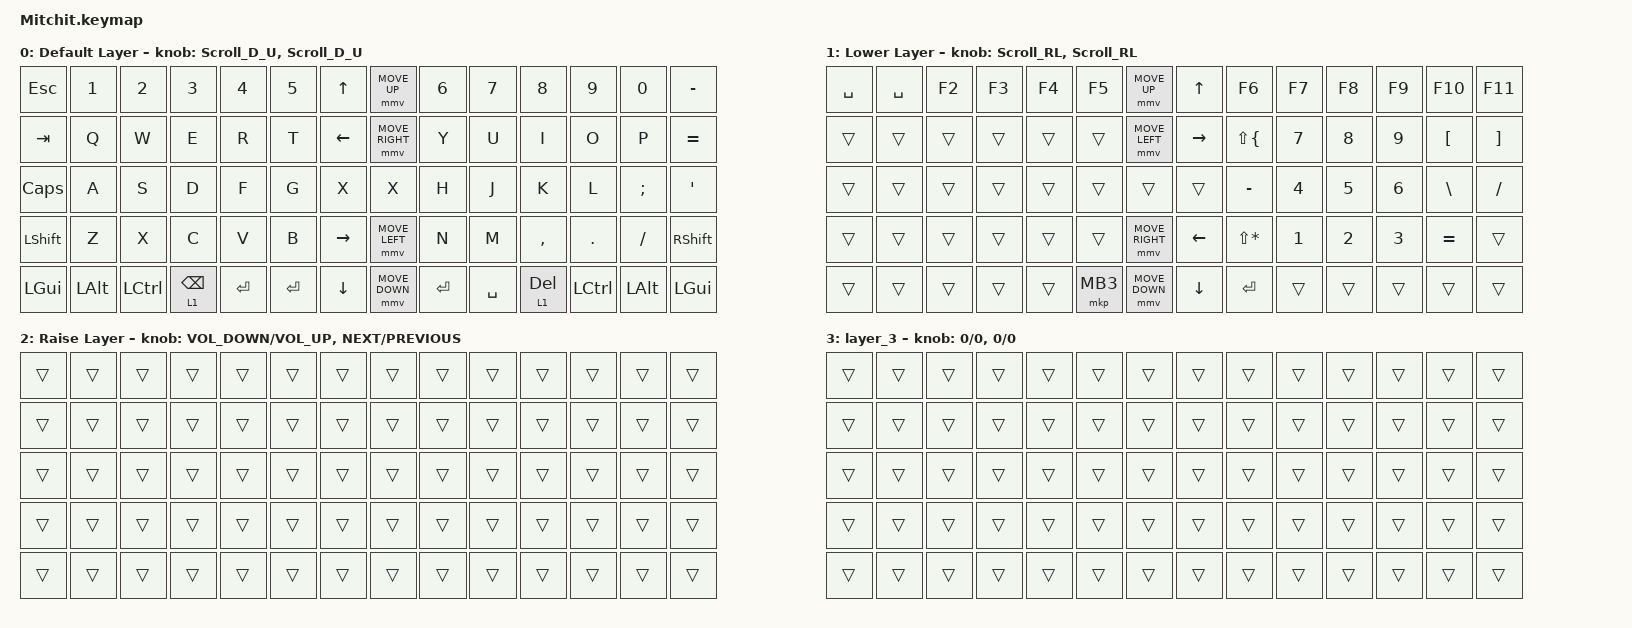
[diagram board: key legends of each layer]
/*
 * Copyright (c) 2020 The ZMK Contributors
 *
 * SPDX-License-Identifier: MIT
 */

#include <input/processors.dtsi>
#include <zephyr/dt-bindings/input/input-event-codes.h>
#include <dt-bindings/zmk/mouse.h>
#include <behaviors/mouse_keys.dtsi>
#include <behaviors.dtsi>
#include <dt-bindings/zmk/bt.h>
#include <dt-bindings/zmk/keys.h>
#include <dt-bindings/zmk/pointing.h>

#define ZMK_POINTING_DEFAULT_MOVE_VAL 1200  // 600
#define ZMK_POINTING_DEFAULT_SCRL_VAL 900   // mousescroll SPEED

&mmv_input_listener { input-processors = <&zip_xy_scaler 2 1>; };

&msc_input_listener { input-processors = <&zip_scroll_scaler 2 1>; };

&msc {
    acceleration-exponent = <1>;      // 0
    time-to-max-speed-ms = <100>;       // 300
    delay-ms = <0>;                   // 0
};

&mmv {
    time-to-max-speed-ms = <500>;
    acceleration-exponent = <1>;
    trigger-period-ms = <16>;
};

&soft_off {
    hold-time-ms = <3000>; // Only turn off it the key is held for 3 seconds or longer.
};

&mt {
    tapping-term-ms = <300>;
    flavor = "balanced";
};

&lt { tapping-term-ms = <300>; };

/ {
    behaviors {
        Scroll_D_U: Scroll_D_U {
            compatible = "zmk,behavior-sensor-rotate";
            label = "SCROLL_D_U";
            #sensor-binding-cells = <0>;
            bindings = <&msc SCRL_DOWN>, <&msc SCRL_UP>;

            tap-ms = <20>;
        };

        TD01: TD01 {
            compatible = "zmk,behavior-tap-dance";
            label = "TD01";
            #binding-cells = <0>;
            bindings = <&kp MINUS>, <&kp PERIOD>;
        };

        Scroll_U_D: Scroll_U_D {
            compatible = "zmk,behavior-sensor-rotate";
            label = "SCROLL_U_D";
            #sensor-binding-cells = <0>;
            bindings = <&msc SCRL_UP>, <&msc SCRL_DOWN>;

            tap-ms = <20>;
        };

        Scroll_LR: Scroll_LR {
            compatible = "zmk,behavior-sensor-rotate";
            label = "SCROLL_LR";
            #sensor-binding-cells = <0>;
            bindings = <&msc SCRL_LEFT>, <&msc SCRL_RIGHT>;

            tap-ms = <20>;
        };

        Scroll_RL: Scroll_RL {
            compatible = "zmk,behavior-sensor-rotate";
            label = "SCROLL_RL";
            #sensor-binding-cells = <0>;
            bindings = <&msc SCRL_RIGHT>, <&msc SCRL_LEFT>;

            tap-ms = <20>;
        };
    };

    combos {
        compatible = "zmk,combos";

        Combo_CLR_BT {
            bindings = <&bt BT_CLR_ALL>;
            key-positions = <13 0>;
            layers = <1>;
        };
    };

    keymap {
        compatible = "zmk,keymap";

        default_layer {
            display-name = "Default Layer";
            bindings = <
&kp ESC    &kp N1    &kp N2     &kp N3           &kp N4   &kp N5   &kp UP     &mmv MOVE_UP     &kp N6   &kp N7     &kp N8     &kp N9     &kp N0    &kp MINUS
&kp TAB    &kp Q     &kp W      &kp E            &kp R    &kp T    &kp LEFT   &mmv MOVE_RIGHT  &kp Y    &kp U      &kp I      &kp O      &kp P     &kp EQUAL
&kp CAPS   &kp A     &kp S      &kp D            &kp F    &kp G    &kp X      &kp X            &kp H    &kp J      &kp K      &kp L      &kp SEMI  &kp APOS
&kp LSHFT  &kp Z     &kp X      &kp C            &kp V    &kp B    &kp RIGHT  &mmv MOVE_LEFT   &kp N    &kp M      &kp COMMA  &kp DOT    &kp FSLH  &kp RSHFT
&kp LGUI   &kp LALT  &kp LCTRL  &lt 1 BACKSPACE  &kp RET  &kp RET  &kp DOWN   &mmv MOVE_DOWN   &kp RET  &kp SPACE  &lt 1 DEL  &kp LCTRL  &kp LALT  &kp LGUI
            >;

            sensor-bindings = <&Scroll_D_U>, <&Scroll_D_U>;
        };

        lower_layer {
            display-name = "Lower Layer";
            bindings = <
&kp SPACE  &kp SPACE  &kp F2  &kp F3  &kp F4  &kp F5    &mmv MOVE_UP     &kp UP     &kp F6        &kp F7  &kp F8  &kp F9  &kp F10    &kp F11
&trans     &trans     &trans  &trans  &trans  &trans    &mmv MOVE_LEFT   &kp RIGHT  &kp LS(LBRC)  &kp N7  &kp N8  &kp N9  &kp LBKT   &kp RBKT
&trans     &trans     &trans  &trans  &trans  &trans    &trans           &trans     &kp MINUS     &kp N4  &kp N5  &kp N6  &kp BSLH   &kp FSLH
&trans     &trans     &trans  &trans  &trans  &trans    &mmv MOVE_RIGHT  &kp LEFT   &kp LS(STAR)  &kp N1  &kp N2  &kp N3  &kp EQUAL  &trans
&trans     &trans     &trans  &trans  &trans  &mkp MB3  &mmv MOVE_DOWN   &kp DOWN   &kp ENTER     &trans  &trans  &trans  &trans     &trans
            >;

            sensor-bindings = <&Scroll_RL>, <&Scroll_RL>;
        };

        raise_layer {
            display-name = "Raise Layer";
            bindings = <
&trans  &trans  &trans  &trans  &trans  &trans  &trans  &trans  &trans  &trans  &trans  &trans  &trans  &trans
&trans  &trans  &trans  &trans  &trans  &trans  &trans  &trans  &trans  &trans  &trans  &trans  &trans  &trans
&trans  &trans  &trans  &trans  &trans  &trans  &trans  &trans  &trans  &trans  &trans  &trans  &trans  &trans
&trans  &trans  &trans  &trans  &trans  &trans  &trans  &trans  &trans  &trans  &trans  &trans  &trans  &trans
&trans  &trans  &trans  &trans  &trans  &trans  &trans  &trans  &trans  &trans  &trans  &trans  &trans  &trans
            >;

            sensor-bindings =
                <&inc_dec_kp C_VOLUME_DOWN C_VOLUME_UP>,
                <&inc_dec_kp C_NEXT C_PREVIOUS>;
        };

        layer_3 {
            bindings = <
&trans  &trans  &trans  &trans  &trans  &trans  &trans  &trans  &trans  &trans  &trans  &trans  &trans  &trans
&trans  &trans  &trans  &trans  &trans  &trans  &trans  &trans  &trans  &trans  &trans  &trans  &trans  &trans
&trans  &trans  &trans  &trans  &trans  &trans  &trans  &trans  &trans  &trans  &trans  &trans  &trans  &trans
&trans  &trans  &trans  &trans  &trans  &trans  &trans  &trans  &trans  &trans  &trans  &trans  &trans  &trans
&trans  &trans  &trans  &trans  &trans  &trans  &trans  &trans  &trans  &trans  &trans  &trans  &trans  &trans
            >;

            sensor-bindings = <&inc_dec_kp 0 0>, <&inc_dec_kp 0 0>;
        };
    };
};
